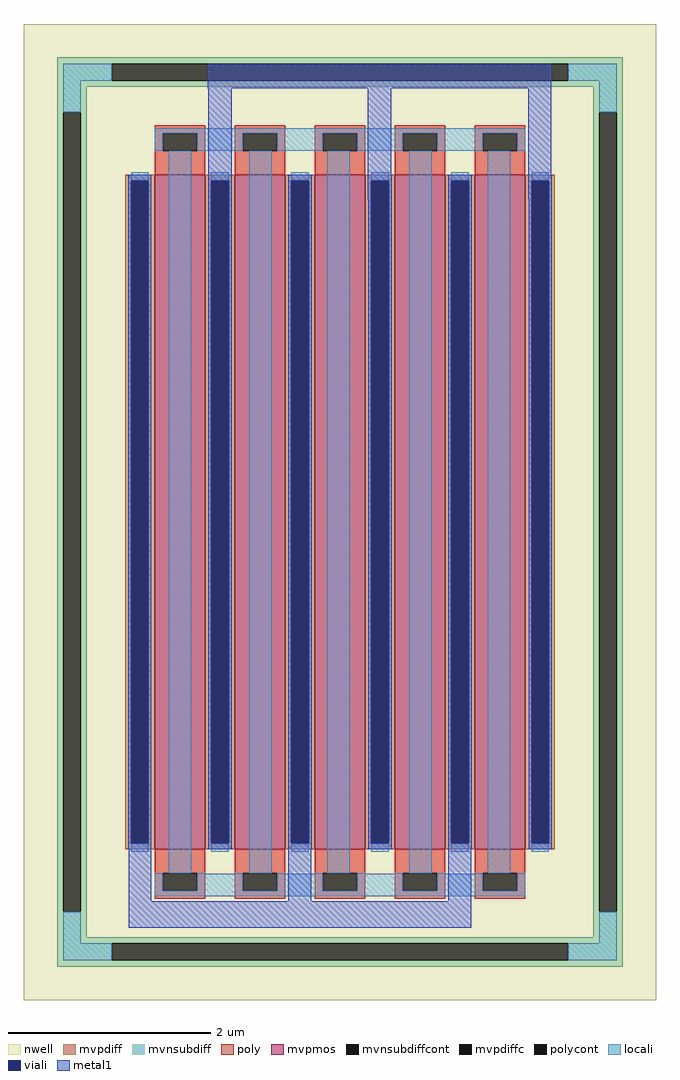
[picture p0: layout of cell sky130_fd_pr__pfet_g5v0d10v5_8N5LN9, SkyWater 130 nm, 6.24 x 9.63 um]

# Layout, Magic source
magic
tech sky130A
magscale 1 2
<< nwell >>
rect -624 -963 624 963
<< mvpmos >>
rect -366 -666 -266 666
rect -208 -666 -108 666
rect -50 -666 50 666
rect 108 -666 208 666
rect 266 -666 366 666
<< mvpdiff >>
rect -424 654 -366 666
rect -424 -654 -412 654
rect -378 -654 -366 654
rect -424 -666 -366 -654
rect -266 654 -208 666
rect -266 -654 -254 654
rect -220 -654 -208 654
rect -266 -666 -208 -654
rect -108 654 -50 666
rect -108 -654 -96 654
rect -62 -654 -50 654
rect -108 -666 -50 -654
rect 50 654 108 666
rect 50 -654 62 654
rect 96 -654 108 654
rect 50 -666 108 -654
rect 208 654 266 666
rect 208 -654 220 654
rect 254 -654 266 654
rect 208 -666 266 -654
rect 366 654 424 666
rect 366 -654 378 654
rect 412 -654 424 654
rect 366 -666 424 -654
<< mvpdiffc >>
rect -412 -654 -378 654
rect -254 -654 -220 654
rect -96 -654 -62 654
rect 62 -654 96 654
rect 220 -654 254 654
rect 378 -654 412 654
<< mvnsubdiff >>
rect -558 885 558 897
rect -558 851 -450 885
rect 450 851 558 885
rect -558 839 558 851
rect -558 789 -500 839
rect -558 -789 -546 789
rect -512 -789 -500 789
rect 500 789 558 839
rect -558 -839 -500 -789
rect 500 -789 512 789
rect 546 -789 558 789
rect 500 -839 558 -789
rect -558 -851 558 -839
rect -558 -885 -450 -851
rect 450 -885 558 -851
rect -558 -897 558 -885
<< mvnsubdiffcont >>
rect -450 851 450 885
rect -546 -789 -512 789
rect 512 -789 546 789
rect -450 -885 450 -851
<< poly >>
rect -366 747 -266 763
rect -366 713 -350 747
rect -282 713 -266 747
rect -366 666 -266 713
rect -208 747 -108 763
rect -208 713 -192 747
rect -124 713 -108 747
rect -208 666 -108 713
rect -50 747 50 763
rect -50 713 -34 747
rect 34 713 50 747
rect -50 666 50 713
rect 108 747 208 763
rect 108 713 124 747
rect 192 713 208 747
rect 108 666 208 713
rect 266 747 366 763
rect 266 713 282 747
rect 350 713 366 747
rect 266 666 366 713
rect -366 -713 -266 -666
rect -366 -747 -350 -713
rect -282 -747 -266 -713
rect -366 -763 -266 -747
rect -208 -713 -108 -666
rect -208 -747 -192 -713
rect -124 -747 -108 -713
rect -208 -763 -108 -747
rect -50 -713 50 -666
rect -50 -747 -34 -713
rect 34 -747 50 -713
rect -50 -763 50 -747
rect 108 -713 208 -666
rect 108 -747 124 -713
rect 192 -747 208 -713
rect 108 -763 208 -747
rect 266 -713 366 -666
rect 266 -747 282 -713
rect 350 -747 366 -713
rect 266 -763 366 -747
<< polycont >>
rect -350 713 -282 747
rect -192 713 -124 747
rect -34 713 34 747
rect 124 713 192 747
rect 282 713 350 747
rect -350 -747 -282 -713
rect -192 -747 -124 -713
rect -34 -747 34 -713
rect 124 -747 192 -713
rect 282 -747 350 -713
<< locali >>
rect -546 851 -450 885
rect 450 851 546 885
rect -546 789 -512 851
rect 512 789 546 851
rect -366 747 366 757
rect -366 713 -350 747
rect -282 713 -192 747
rect -124 713 -34 747
rect 34 713 124 747
rect 192 713 282 747
rect 350 713 366 747
rect -412 654 -378 670
rect -412 -670 -378 -654
rect -338 -713 -294 713
rect -254 654 -220 670
rect -254 -670 -220 -654
rect -179 -713 -135 713
rect -96 654 -62 670
rect -96 -670 -62 -654
rect -25 -713 19 713
rect 62 654 96 670
rect 62 -670 96 -654
rect 137 -713 181 713
rect 220 654 254 670
rect 220 -670 254 -654
rect 292 -713 336 713
rect 378 654 412 670
rect 378 -670 412 -654
rect -366 -747 -350 -713
rect -282 -714 -266 -713
rect -208 -714 -192 -713
rect -282 -747 -192 -714
rect -124 -714 -108 -713
rect -50 -714 -34 -713
rect -124 -747 -34 -714
rect 34 -714 50 -713
rect 108 -714 124 -713
rect 34 -747 124 -714
rect 192 -714 208 -713
rect 266 -714 282 -713
rect 192 -747 282 -714
rect 350 -747 366 -713
rect -366 -758 366 -747
rect -546 -851 -512 -789
rect 512 -851 546 -789
rect -546 -885 -450 -851
rect 450 -885 546 -851
<< viali >>
rect -412 -654 -378 654
rect -254 -654 -220 654
rect -96 -654 -62 654
rect 62 -654 96 654
rect 220 -654 254 654
rect 378 -654 412 654
<< metal1 >>
rect -261 836 417 884
rect -418 654 -372 666
rect -418 -654 -412 654
rect -378 -654 -372 654
rect -418 -666 -372 -654
rect -260 654 -214 836
rect 55 666 101 836
rect 371 666 417 836
rect -260 -654 -254 654
rect -220 -654 -214 654
rect -260 -666 -214 -654
rect -102 654 -56 666
rect -102 -654 -96 654
rect -62 -654 -56 654
rect 55 654 102 666
rect 55 617 62 654
rect -102 -666 -56 -654
rect 56 -654 62 617
rect 96 -654 102 654
rect 56 -666 102 -654
rect 214 654 260 666
rect 214 -654 220 654
rect 254 -654 260 654
rect 371 654 418 666
rect 371 618 378 654
rect 214 -666 260 -654
rect 372 -654 378 618
rect 412 -654 418 654
rect 372 -666 418 -654
rect -417 -768 -372 -666
rect -102 -768 -57 -666
rect 214 -768 259 -666
rect -417 -820 259 -768
<< properties >>
string FIXED_BBOX -529 -868 529 868
string gencell sky130_fd_pr__pfet_g5v0d10v5
string library sky130
string parameters w 6.66 l 0.5 m 1 nf 5 diffcov 100 polycov 100 guard 1 glc 1 grc 1 gtc 1 gbc 1 tbcov 100 rlcov 100 topc 1 botc 1 poverlap 0 doverlap 1 lmin 0.50 wmin 0.42 class mosfet compatible {sky130_fd_pr__pfet_01v8  sky130_fd_pr__pfet_01v8_lvt sky130_fd_pr__pfet_01v8_hvt  sky130_fd_pr__pfet_g5v0d10v5} full_metal 1 conn_gates 0 viasrc 100 viadrn 100 viagate 100 viagb 0 viagr 0 viagl 0 viagt 0 doports 1
<< end >>
